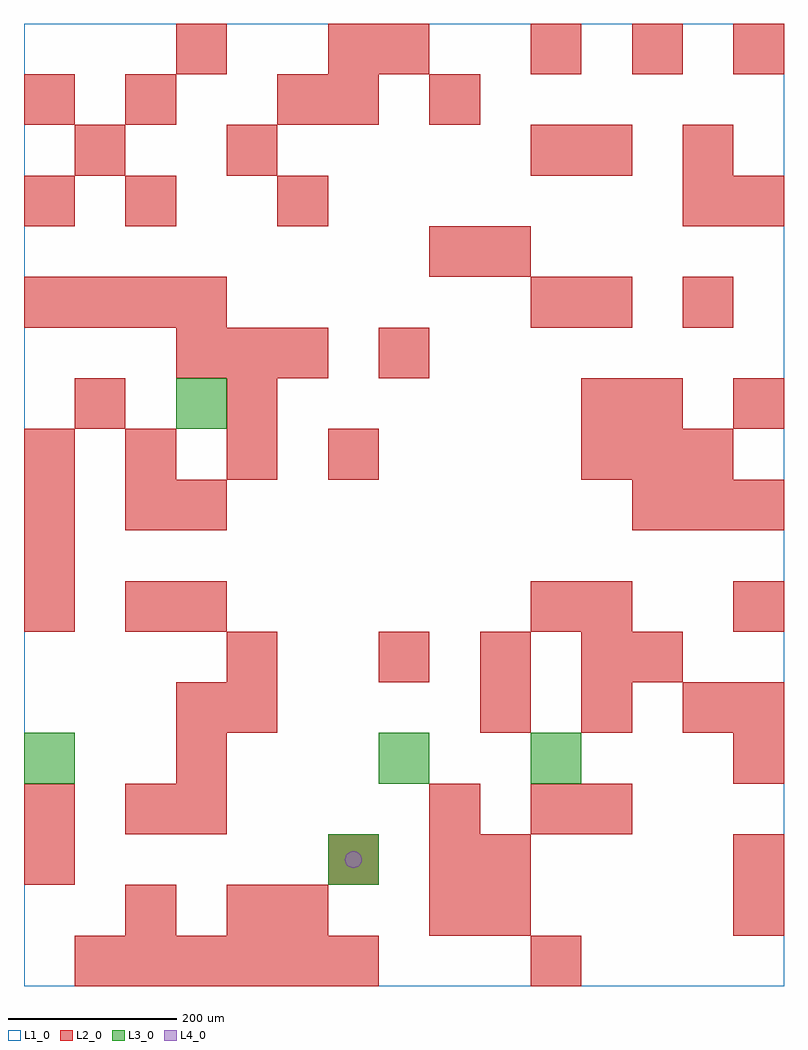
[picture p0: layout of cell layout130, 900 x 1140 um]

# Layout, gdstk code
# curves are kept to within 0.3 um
import gdstk
lib = gdstk.Library(unit=1e-6, precision=1e-09)
def R(c, l, rs):  # rectangles x0, y0, x1, y1
    for r in rs: c.add(gdstk.rectangle(r[:2], r[2:], *l))
def A(c, l, x, y, w, h, nx, ny, dx, dy):  # array of equal rectangles
    R(c, l, [(x+i*dx, y+j*dy, x+i*dx+w, y+j*dy+h) for i in range(nx) for j in range(ny)])
def P(c, l, *ps):  # polygons
    for p in ps: c.add(gdstk.Polygon(p, *l))
L1_0 = (1, 0)
L2_0 = (2, 0)
L3_0 = (3, 0)
L4_0 = (4, 0)

layout130 = lib.new_cell('layout130')
R(layout130, L1_0, [(0,0,900,1140)])
A(layout130, L2_0, 60, 0, 60, 60, 6, 1, 60, 0)
A(layout130, L2_0, 480, 60, 60, 60, 1, 3, 0, 60)
A(layout130, L2_0, 180, 180, 60, 60, 1, 3, 0, 60)
A(layout130, L2_0, 660, 180, 60, 60, 1, 3, 0, 240)
A(layout130, L2_0, 540, 300, 60, 60, 3, 1, 120, 0)
A(layout130, L2_0, 240, 360, 60, 60, 1, 3, 0, 300)
A(layout130, L2_0, 420, 360, 60, 60, 3, 1, 120, 0)
A(layout130, L2_0, 0, 420, 60, 60, 1, 3, 0, 60)
A(layout130, L2_0, 840, 420, 60, 60, 1, 3, 0, 240)
A(layout130, L2_0, 720, 540, 60, 60, 3, 1, 60, 0)
A(layout130, L2_0, 0, 600, 60, 60, 4, 1, 120, 0)
A(layout130, L2_0, 660, 600, 60, 60, 3, 1, 60, 0)
A(layout130, L2_0, 180, 720, 60, 60, 3, 1, 60, 0)
A(layout130, L2_0, 0, 780, 60, 60, 4, 1, 60, 0)
A(layout130, L2_0, 600, 1080, 60, 60, 3, 1, 120, 0)
R(layout130, L2_0, [(600,0,660,60), (120,60,180,120), (240,60,300,120), (300,60,360,120), (540,60,600,120), (840,60,900,120), (0,120,60,180), (360,120,420,180), (540,120,600,180), (840,120,900,180), (0,180,60,240), (120,180,180,240), (600,180,660,240), (840,240,900,300), (240,300,300,360), (840,300,900,360), (720,360,780,420), (120,420,180,480), (180,420,240,480), (600,420,660,480), (120,540,180,600), (180,540,240,600), (60,660,120,720), (720,660,780,720), (420,720,480,780), (600,780,660,840), (660,780,720,840), (780,780,840,840), (480,840,540,900), (540,840,600,900), (0,900,60,960), (120,900,180,960), (300,900,360,960), (780,900,840,960), (60,960,120,1020), (600,960,660,1020), (660,960,720,1020), (780,960,840,1020), (0,1020,60,1080), (120,1020,180,1080), (300,1020,360,1080), (360,1020,420,1080), (480,1020,540,1080), (180,1080,240,1140), (360,1080,420,1140), (420,1080,480,1140)])
R(layout130, L3_0, [(360,120,420,180), (0,240,60,300), (420,240,480,300), (600,240,660,300), (180,660,240,720)])
P(layout130, L4_0, [(400,150),(399.239,153.827),(397.071,157.071),(393.827,159.239),(390,160),(386.173,159.239),(382.929,157.071),(380.761,153.827),(380,150),(380.761,146.173),(382.929,142.929),(386.173,140.761),(390,140),(393.827,140.761),(397.071,142.929),(399.239,146.173)])

lib.write_gds('layout130.gds')
